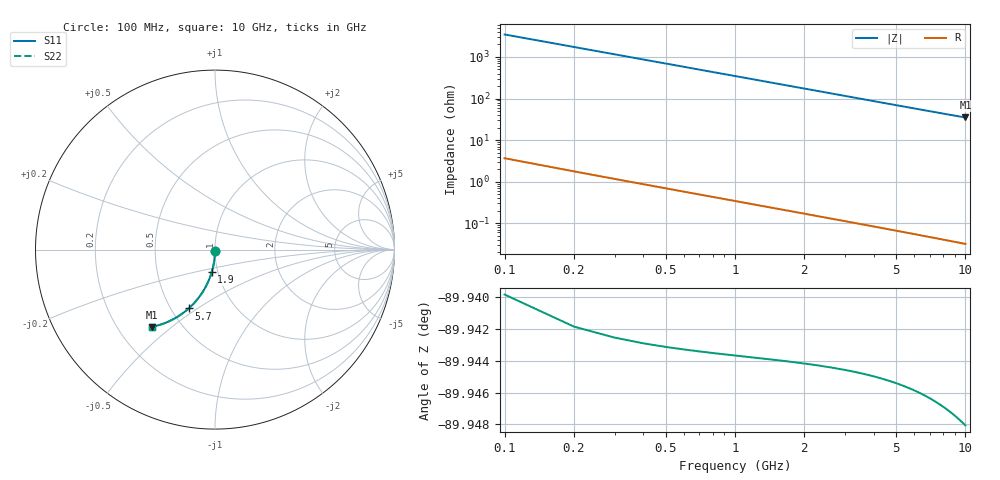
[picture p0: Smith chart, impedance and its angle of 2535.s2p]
# Hz S RI R 50.00
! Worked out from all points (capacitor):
!   100 points, 100 MHz to 10 GHz, reference 50 ohm
!   read as one part in shunt: C = 457 fF near 100 MHz
!   lowest |Z| = 35 ohm at 10 GHz (marker M1)
!   S11 on the Smith chart (normalised r, x): 100 MHz: 1.00, -0.01; 1.9 GHz: 0.93, -0.24; 5.7 GHz: 0.61, -0.46; 10 GHz: 0.34, -0.43
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1e8  3.93e-05 -0.00672  0.9998 -0.00763  0.9998 -0.00763  3.93e-05 -0.00672
2e8  -0.000121 -0.0134  0.9997 -0.0153  0.9997 -0.0153  -0.000121 -0.0134
3e8  -0.000384 -0.0202  0.9994 -0.0229  0.9994 -0.0229  -0.000384 -0.0202
4e8  -0.00075 -0.0269  0.999 -0.0305  0.999 -0.0305  -0.00075 -0.0269
5e8  -0.00122 -0.0336  0.9986 -0.0381  0.9986 -0.0381  -0.00122 -0.0336
6e8  -0.00179 -0.0403  0.998 -0.0457  0.998 -0.0457  -0.00179 -0.0403
7e8  -0.00246 -0.047  0.9973 -0.0533  0.9973 -0.0533  -0.00246 -0.047
8e8  -0.00323 -0.0536  0.9965 -0.0609  0.9965 -0.0609  -0.00323 -0.0536
9e8  -0.00411 -0.0603  0.9957 -0.0685  0.9957 -0.0685  -0.00411 -0.0603
1.1e9  -0.00616 -0.0736  0.9936 -0.0836  0.9936 -0.0836  -0.00616 -0.0736
1.4e9  -0.00999 -0.0933  0.9897 -0.106  0.9897 -0.106  -0.00999 -0.0933
1.8e9  -0.0165 -0.1192  0.9832 -0.1356  0.9832 -0.1356  -0.0165 -0.1192
1.9e9  -0.0183 -0.1256  0.9813 -0.1429  0.9813 -0.1429  -0.0183 -0.1256
2.2e9  -0.0245 -0.1446  0.9751 -0.1646  0.9751 -0.1646  -0.0245 -0.1446
2.6e9  -0.0339 -0.1693  0.9656 -0.193  0.9656 -0.193  -0.0339 -0.1693
3.4e9  -0.0569 -0.2162  0.9424 -0.2473  0.9424 -0.2473  -0.0569 -0.2162
4.2e9  -0.0846 -0.2592  0.9144 -0.2977  0.9144 -0.2977  -0.0846 -0.2592
5.1e9  -0.1205 -0.3023  0.8782 -0.3492  0.8782 -0.3492  -0.1205 -0.3023
5.7e9  -0.1466 -0.3277  0.8518 -0.3802  0.8518 -0.3802  -0.1466 -0.3277
6.7e9  -0.1927 -0.3637  0.8052 -0.4258  0.8052 -0.4258  -0.1927 -0.3637
8.4e9  -0.2749 -0.4075  0.7218 -0.486  0.7218 -0.486  -0.2749 -0.4075
1e10  -0.3516 -0.4306  0.6437 -0.5248  0.6437 -0.5248  -0.3516 -0.4306
